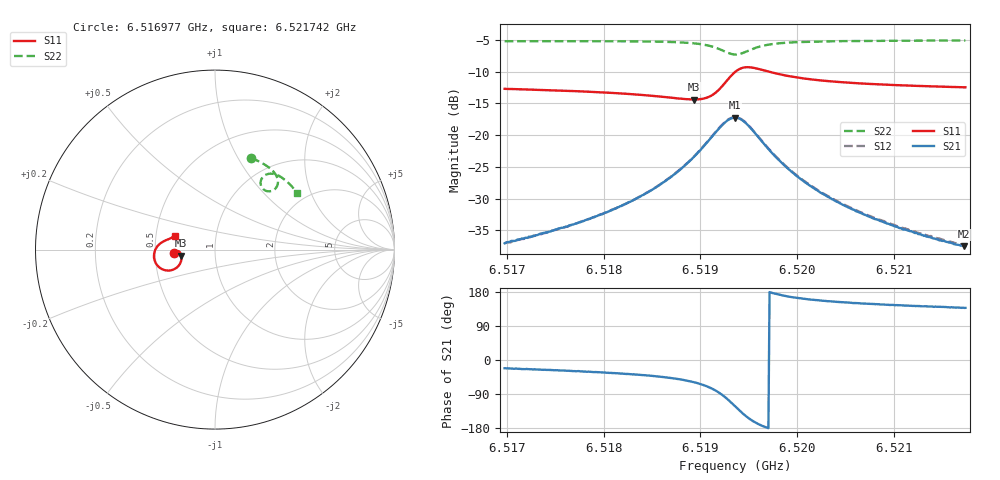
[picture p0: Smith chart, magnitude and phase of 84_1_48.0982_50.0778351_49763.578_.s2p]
#  HZ  S  RI  R  50.00
! Rohde & Schwarz Vector Network Analyzer
! Rohde-Schwarz,ZNB20-2Port,1311601062101988,3.16
! Created: UTC 12/23/2023, 3:43:05 AM
! freq[Hz]  re:S11  im:S11  re:S21  im:S21  re:S12  im:S12  re:S22  im:S22
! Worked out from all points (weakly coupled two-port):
!   401 points, 6.516977 GHz to 6.521742 GHz, reference 50 ohm
!   highest |S21| = -17.25 dB at 6.519359 GHz (marker M1); lowest = -37.5 dB at 6.52173 GHz (marker M2)
!   lowest |S11| = -14.4 dB at 6.51893 GHz (marker M3), VSWR 1.47, Z = 34.1 - j2.42 ohm
!   |S11| at or under -10 dB: start of sweep to 6.519365 GHz; 6.519708 GHz to end of sweep
!   |S22| runs from -7.3 to -5.1 dB; largest |S21 - S12| = 0.0041
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6.5169769e9  -0.2307 -0.0177  0.0131 -0.00521  0.0132 -0.00487  0.2019 0.5099
6.5173343e9  -0.2268 -0.0124  0.015 -0.00709  0.0151 -0.00662  0.2284 0.4988
6.517775e9  -0.2207 -0.00711  0.0181 -0.0104  0.0183 -0.00999  0.2609 0.4826
6.51818e9  -0.2128 -0.00493  0.0223 -0.0161  0.023 -0.0154  0.2914 0.464
6.5185731e9  -0.2013 -0.00947  0.0289 -0.0278  0.03 -0.027  0.3217 0.4386
6.5187637e9  -0.1938 -0.018  0.0329 -0.0393  0.0344 -0.0385  0.3366 0.4205
6.5189305e9  -0.1876 -0.0342  0.0351 -0.057  0.0371 -0.0562  0.3477 0.398
6.5190377e9  -0.1868 -0.0527  0.0326 -0.0752  0.0351 -0.0746  0.3508 0.3775
6.519133e9  -0.194 -0.0767  0.0223 -0.097  0.0255 -0.097  0.3461 0.3546
6.519264e9  -0.2366 -0.1129  -0.0211 -0.1256  -0.0175 -0.1272  0.3132 0.326
6.5193593e9  -0.2942 -0.1091  -0.0726 -0.1165  -0.0698 -0.1194  0.2734 0.3334
6.519407e9  -0.3191 -0.0907  -0.0928 -0.0977  -0.0907 -0.101  0.2594 0.3494
6.5194665e9  -0.3368 -0.0592  -0.105 -0.0684  -0.1037 -0.072  0.2539 0.3737
6.5195737e9  -0.3358 -0.00921  -0.0988 -0.0256  -0.0988 -0.0286  0.2685 0.4064
6.5196809e9  -0.3195 0.0201  -0.0815 -0.00314  -0.0823 -0.0055  0.2915 0.4202
6.5198835e9  -0.2914 0.0434  -0.0554 0.011  -0.0563 0.00942  0.3268 0.4216
6.5201574e9  -0.2686 0.0542  -0.0363 0.0139  -0.0372 0.0131  0.3591 0.4094
6.5205029e9  -0.2523 0.0609  -0.0244 0.013  -0.025 0.0125  0.3879 0.39
6.5209555e9  -0.2394 0.0676  -0.0163 0.0114  -0.017 0.0109  0.4172 0.3634
6.5214678e9  -0.2292 0.0746  -0.0115 0.00944  -0.012 0.00954  0.4451 0.332
6.5217298e9  -0.2248 0.0784  -0.00983 0.00902  -0.0104 0.00886  0.4577 0.3159
6.5217417e9  -0.2246 0.0784  -0.00986 0.00901  -0.0103 0.00884  0.4584 0.3152
